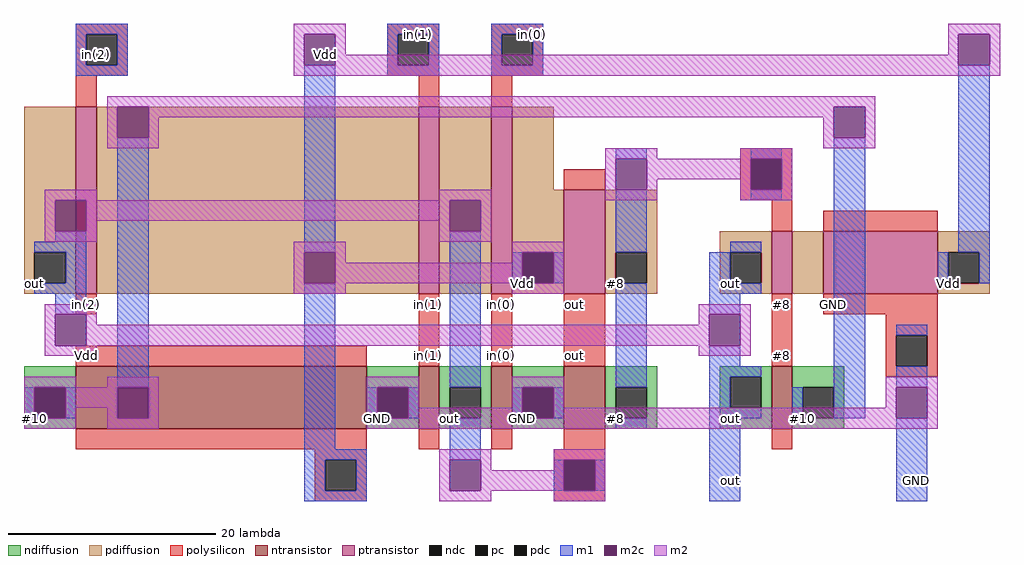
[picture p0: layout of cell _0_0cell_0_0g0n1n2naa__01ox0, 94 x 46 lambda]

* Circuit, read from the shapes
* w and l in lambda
.subckt _0_0cell_0_0g0n1n2naa__01ox0 GND Vdd in(2) in(1) out in(0)
M1 GND Vdd #10 VSUBS nfet w=6 l=28
M2 out in(1) GND VSUBS nfet w=6 l=2
M3 GND in(0) out VSUBS nfet w=6 l=2
M4 #8 out GND VSUBS nfet w=6 l=4
M5 #10 #8 out VSUBS nfet w=6 l=2
M6 n1 in(2) out NWELL pfet w=18 l=2
M7 n2 in(1) n1 NWELL pfet w=18 l=2
M8 Vdd in(0) n2 NWELL pfet w=18 l=2
M9 #8 out Vdd NWELL pfet w=10 l=4
M10 n3 #8 out NWELL pfet w=6 l=2
M11 Vdd GND n3 NWELL pfet w=6 l=11
.ends

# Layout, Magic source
magic
tech sky130l
<< ndiffusion >>
rect 6 10 11 12
rect 6 7 7 10
rect 10 7 11 10
rect 6 6 11 7
rect 39 10 44 12
rect 39 7 40 10
rect 43 7 44 10
rect 39 6 44 7
rect 46 10 51 12
rect 46 7 47 10
rect 50 7 51 10
rect 46 6 51 7
rect 53 10 58 12
rect 53 7 54 10
rect 57 7 58 10
rect 53 6 58 7
rect 62 10 67 12
rect 62 7 63 10
rect 66 7 67 10
rect 62 6 67 7
rect 73 11 78 12
rect 73 8 74 11
rect 77 8 78 11
rect 73 6 78 8
rect 80 10 85 12
rect 80 7 81 10
rect 84 7 85 10
rect 80 6 85 7
<< ndc >>
rect 7 7 10 10
rect 40 7 43 10
rect 47 7 50 10
rect 54 7 57 10
rect 63 7 66 10
rect 74 8 77 11
rect 81 7 84 10
<< ntransistor >>
rect 11 6 39 12
rect 44 6 46 12
rect 51 6 53 12
rect 58 6 62 12
rect 78 6 80 12
<< pdiffusion >>
rect 6 23 11 37
rect 6 20 7 23
rect 10 20 11 23
rect 6 19 11 20
rect 13 19 44 37
rect 46 19 51 37
rect 53 29 57 37
rect 53 23 58 29
rect 53 20 54 23
rect 57 20 58 23
rect 53 19 58 20
rect 62 23 67 29
rect 62 20 63 23
rect 66 20 67 23
rect 62 19 67 20
rect 73 23 78 25
rect 73 20 74 23
rect 77 20 78 23
rect 73 19 78 20
rect 80 19 83 25
rect 94 23 99 25
rect 94 20 95 23
rect 98 20 99 23
rect 94 19 99 20
<< pdc >>
rect 7 20 10 23
rect 54 20 57 23
rect 63 20 66 23
rect 74 20 77 23
rect 95 20 98 23
<< ptransistor >>
rect 11 19 13 37
rect 44 19 46 37
rect 51 19 53 37
rect 58 19 62 29
rect 78 19 80 25
rect 83 19 94 25
<< polysilicon >>
rect 11 44 16 45
rect 11 41 12 44
rect 15 41 16 44
rect 11 40 16 41
rect 41 44 46 45
rect 41 41 42 44
rect 45 41 46 44
rect 41 40 46 41
rect 11 37 13 40
rect 44 37 46 40
rect 51 44 56 45
rect 51 41 52 44
rect 55 41 56 44
rect 51 40 56 41
rect 51 37 53 40
rect 75 32 80 33
rect 58 29 62 31
rect 75 29 76 32
rect 79 29 80 32
rect 75 28 80 29
rect 78 25 80 28
rect 83 25 94 27
rect 11 17 13 19
rect 11 12 39 14
rect 44 12 46 19
rect 51 12 53 19
rect 58 12 62 19
rect 78 12 80 19
rect 83 17 94 19
rect 89 15 94 17
rect 89 12 90 15
rect 93 12 94 15
rect 89 11 94 12
rect 11 4 39 6
rect 44 4 46 6
rect 51 4 53 6
rect 58 4 62 6
rect 78 4 80 6
rect 34 3 39 4
rect 34 0 35 3
rect 38 0 39 3
rect 34 -1 39 0
rect 57 3 62 4
rect 57 0 58 3
rect 61 0 62 3
rect 57 -1 62 0
<< pc >>
rect 12 41 15 44
rect 42 41 45 44
rect 52 41 55 44
rect 76 29 79 32
rect 90 12 93 15
rect 35 0 38 3
rect 58 0 61 3
<< m1 >>
rect 11 44 16 45
rect 41 44 46 45
rect 11 41 12 44
rect 15 41 16 44
rect 11 40 16 41
rect 9 24 12 25
rect 7 23 12 24
rect 10 20 12 23
rect 7 19 12 20
rect 9 17 12 19
rect 15 10 18 34
rect 6 7 7 10
rect 10 7 11 10
rect 33 23 36 41
rect 41 41 42 44
rect 45 41 46 44
rect 41 40 46 41
rect 51 44 56 45
rect 51 41 52 44
rect 55 41 56 44
rect 51 40 56 41
rect 63 32 66 33
rect 33 4 36 20
rect 47 10 50 25
rect 63 23 66 29
rect 76 32 79 33
rect 76 28 79 29
rect 74 23 77 24
rect 53 20 54 23
rect 57 20 58 23
rect 63 10 66 20
rect 39 7 40 10
rect 43 7 44 10
rect 53 7 54 10
rect 57 7 58 10
rect 33 3 39 4
rect 33 0 35 3
rect 38 0 39 3
rect 47 3 50 7
rect 63 6 66 7
rect 72 20 74 23
rect 72 19 77 20
rect 72 17 75 19
rect 72 12 75 14
rect 72 11 77 12
rect 72 8 74 11
rect 72 7 77 8
rect 80 7 81 10
rect 84 7 87 34
rect 96 23 99 41
rect 94 20 95 23
rect 98 20 99 23
rect 90 15 93 16
rect 90 10 93 12
rect 57 0 58 3
rect 61 0 62 3
rect 33 -1 39 0
rect 72 -1 75 7
rect 90 -1 93 7
<< m2c >>
rect 33 41 36 44
rect 15 34 18 37
rect 9 25 12 28
rect 9 14 12 17
rect 7 7 10 10
rect 15 7 18 10
rect 96 41 99 44
rect 84 34 87 37
rect 63 29 66 32
rect 33 20 36 23
rect 47 25 50 28
rect 76 29 79 32
rect 54 20 57 23
rect 40 7 43 10
rect 54 7 57 10
rect 72 14 75 17
rect 90 7 93 10
rect 47 0 50 3
rect 58 0 61 3
<< m2 >>
rect 32 44 37 45
rect 32 41 33 44
rect 36 42 37 44
rect 95 44 100 45
rect 95 42 96 44
rect 36 41 96 42
rect 99 41 100 44
rect 32 40 100 41
rect 14 37 88 38
rect 14 34 15 37
rect 18 36 84 37
rect 18 34 19 36
rect 14 33 19 34
rect 83 34 84 36
rect 87 34 88 37
rect 83 33 88 34
rect 62 32 67 33
rect 75 32 80 33
rect 62 29 63 32
rect 66 30 76 32
rect 66 29 67 30
rect 8 28 13 29
rect 46 28 51 29
rect 62 28 67 29
rect 75 29 76 30
rect 79 29 80 32
rect 75 28 80 29
rect 8 25 9 28
rect 12 26 47 28
rect 12 25 13 26
rect 8 24 13 25
rect 46 25 47 26
rect 50 25 51 28
rect 46 24 51 25
rect 32 23 37 24
rect 32 20 33 23
rect 36 22 37 23
rect 53 23 58 24
rect 53 22 54 23
rect 36 20 54 22
rect 57 20 58 23
rect 32 19 37 20
rect 53 19 58 20
rect 8 17 13 18
rect 8 14 9 17
rect 12 16 13 17
rect 71 17 76 18
rect 71 16 72 17
rect 12 14 72 16
rect 75 14 76 17
rect 8 13 13 14
rect 71 13 76 14
rect 6 10 11 11
rect 14 10 19 11
rect 6 7 7 10
rect 10 8 15 10
rect 10 7 11 8
rect 6 6 11 7
rect 14 7 15 8
rect 18 7 19 10
rect 14 6 19 7
rect 39 10 44 11
rect 39 7 40 10
rect 43 8 44 10
rect 53 10 58 11
rect 53 8 54 10
rect 43 7 54 8
rect 57 8 58 10
rect 89 10 94 11
rect 89 8 90 10
rect 57 7 90 8
rect 93 7 94 10
rect 39 6 94 7
rect 46 3 51 4
rect 46 0 47 3
rect 50 2 51 3
rect 57 3 62 4
rect 57 2 58 3
rect 50 0 58 2
rect 61 0 62 3
rect 46 -1 51 0
rect 57 -1 62 0
<< labels >>
rlabel pdiffusion 63 20 63 20 3 #8
rlabel ndiffusion 63 7 63 7 3 #8
rlabel polysilicon 59 13 59 13 3 out
rlabel polysilicon 59 18 59 18 3 out
rlabel ndiffusion 54 7 54 7 3 GND
rlabel pdiffusion 54 20 54 20 3 Vdd
rlabel polysilicon 52 13 52 13 3 in(0)
rlabel polysilicon 52 18 52 18 3 in(0)
rlabel ndiffusion 47 7 47 7 3 out
rlabel polysilicon 45 13 45 13 3 in(1)
rlabel polysilicon 45 18 45 18 3 in(1)
rlabel ndiffusion 40 7 40 7 3 GND
rlabel polysilicon 12 13 12 13 3 Vdd
rlabel polysilicon 12 18 12 18 3 in(2)
rlabel ndiffusion 7 7 7 7 3 #10
rlabel pdiffusion 7 20 7 20 3 out
rlabel pdiffusion 95 20 95 20 3 Vdd
rlabel polysilicon 84 18 84 18 3 GND
rlabel ndiffusion 81 7 81 7 3 #10
rlabel polysilicon 79 13 79 13 3 #8
rlabel polysilicon 79 18 79 18 3 #8
rlabel ndiffusion 74 7 74 7 3 out
rlabel pdiffusion 74 20 74 20 3 out
rlabel m1 74 1 74 1 3 out
port 5 e
rlabel pc 13 42 13 42 3 in(2)
port 3 e
rlabel m2c 35 42 35 42 3 Vdd
port 2 e
rlabel m1 92 1 92 1 3 GND
port 1 e
rlabel pc 44 44 44 44 3 in(1)
port 4 e
rlabel m1 55 44 55 44 3 in(0)
port 6 e
<< end >>
